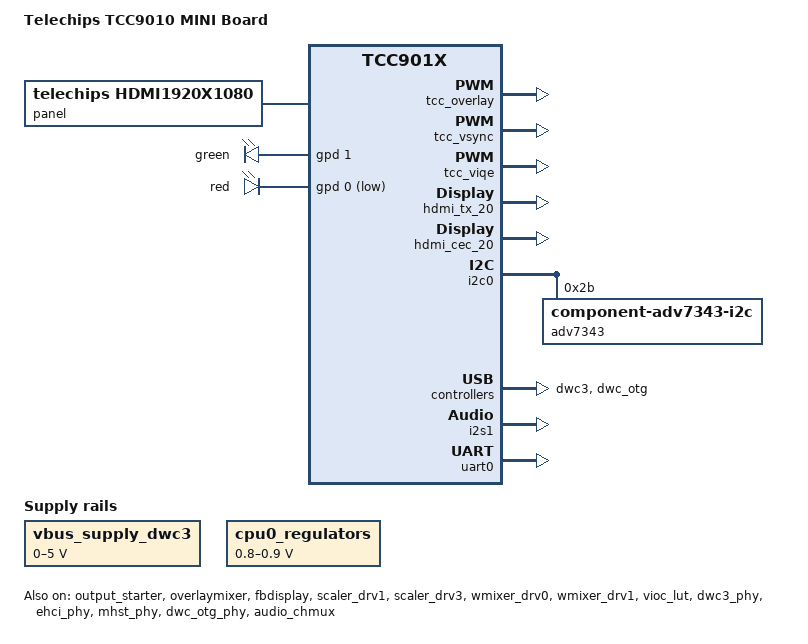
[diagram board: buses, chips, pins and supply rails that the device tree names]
// SPDX-License-Identifier: (GPL-2.0+ OR MIT)
/*
 * Device tree for Telechips TCC9010 MINI board
 *
 * Copyright (C) 2019 Telechips Inc.
 */

#ifndef DT_OVERLAY
#include "tcc9010.dtsi"
#endif

#include "tcc901x-android.dtsi"

/ {
	model = "Telechips TCC9010 MINI Board";
	compatible = "telechips,tcc9010", "telechips,tcc901x";

	vbus_supply_dwc3: vbus_supply_dwc3 {
		compatible = "regulator-gpio";
		regulator-name = "vbus_supply_dwc3";
		regulator-type = "voltage";
		regulator-min-microvolt = <0000001>;
		regulator-max-microvolt = <5000000>;
		gpios = <&gpd 19 0x0>;
		gpios-states = <0x0>;
		states = <0000001 0x0 5000000 0x1>;
	};

};

&chosen {
};

&cpu0_regulators {
	compatible = "regulator-gpio";

	regulator-name = "vdd_cpu0";
	regulator-min-microvolt = <800000>;
	regulator-max-microvolt = <900000>;
	regulator-type = "voltage";
	regulator-always-on;

	gpios = <&gpd 16 0x4>;
	gpios-states = <0>;

	states = < 800000 0x0
		900000 0x1
		>;

	startup-delay-us = <100000>;
	enable-active-high;
};

&panel {
	status = "okay";
	compatible = "telechips,hdmi1920x1080";
};

&tcc_tve {
	status = "disabled";
};

&composite {
	status = "disabled";
};

&component {
	status = "disabled";
	io_port_num = <1>;	/* TCC901x: LCDC interface 1 (L1_XXX) */
};

&output_starter {
	status = "okay";
};

&overlaymixer {
	status ="okay";
	contiguousSize = <0x1000000>;  /* 16MB (if > 512MB RAM) refer to Guide 27 Page */
	baseAddress = <0x20000000>;
	physSize = <0x80000000>; /*  DRAM size (0x40000000 = 1GB, 0x80000000 = 2GB) */
};

&fbdisplay {
	telechips,fbdisplay_num = <0>;
	status ="okay";
};

&tcc_overlay {
	compatible = "telechips,tcc_overlay";
	status = "okay";
	fbdisplay-overlay = <&fbdisplay>;
};

&tcc_vsync {
	compatible = "telechips,tcc_vsync";
	display-vioc0 = <&vioc_disp VIOC_DISP0>;
	display-vioc1 = <&vioc_disp VIOC_DISP1>;
	status = "okay";
};

&tcc_viqe {
	compatible = "telechips,tcc_viqe";
	status ="okay";
	tcc_viqe_viqe_common {
		board_num=<1>;
	};
};

&scaler_drv1 {
	rdmas = <&vioc_rdma VIOC_RDMA16>;
	scalers = <&vioc_scaler VIOC_SCALER1 VIOC_SC_RDMA_16>;	/* id:1, path:17 */
	wmixs = <&vioc_wmix VIOC_WMIX5>;	/* id:5, path:6 */
	wdmas = <&vioc_wdma VIOC_WDMA06>;
	settop_support = <1>;
	status = "okay";
};

&scaler_drv3 {
	rdmas = <&vioc_rdma VIOC_RDMA07>;
	scalers = <&vioc_scaler VIOC_SCALER3 VIOC_SC_RDMA_07>;	/* id:3, path:7 */
	wmixs = <&vioc_wmix VIOC_WMIX1>;	/* id:1, path:3 */
	wdmas = <&vioc_wdma VIOC_WDMA01>;
	settop_support = <1>;
	status = "okay";
};

&wmixer_drv0 {
	status = "okay";
};

&wmixer_drv1 {
	status = "okay";
};
&vioc_lut {
	status = "okay";
};

&hdmi_tx_20 {
	status = "okay";
	hdmi_ref_src_clock = <0>; // 0 XIN, 1 X-TAL, 2 PERI, 3, PMU XIN
	hdmi_phy_type = <1>;

	/* Source Product Description */
	product_description = "TCC9010_mini";
};

&hdmi_cec_20 {
	status = "okay";
};

/* I2C */

// Default set
&i2c0 {
	port-mux = <9>;
	status = "okay";
	pinctrl-names = "default";
	pinctrl-0 = <&i2c9_bus>;

	adv7343@20 {
		compatible = "component-adv7343-i2c";
		reg = <0x2b>;	/* ALSB=1, Write=0x56, Read=0x57 */
	};
};

/* USB 3.0 DRD */
&dwc3_phy {
	status = "okay";
	vbus-ctrl-able;
	vbus-supply = <&vbus_supply_dwc3>;
};
&dwc3 {
	status = "okay";
};

/* USB 2.0 HOST */
&ehci_phy {
	status = "okay";
};

&mhst_phy {
	status = "okay";
};

&dwc_otg_phy {
	status = "okay";
};

&ehci {
	status = "disable";
	hcd_id = <0>;
	phy-type = <1>;	    //pico phy = 1, nano phy = 0
	TXVRT = <0xB>;
	TXRISET = <0x3>;
	TXAT = <0x1>;
};

&ohci {
	status = "disable";
};

/* USB 2.0 OTG */
&dwc_otg {
	status = "okay";
	phy-type = <1>;     //pico phy = 1, nano phy = 0
};

&audio_chmux {
	compatible = "telechips,audio-chmux-901x";
	dai = <99 99>; // i2s0(x) i2s1(x)
	cdif = <99 99>; // cdif0(x) cdif1(x)
	spdif = <99>; // spdif0(x)
	status = "okay";
};

&i2s1 {
	pinctrl-names = "default";
	status = "okay";
};

&adma1 {
	status = "okay";
};

&sound {
	compatible = "telechips,snd-card";
	card-name = "TCC9010 Mini Card";
	status = "okay";

	telechips,dai-link@0 {
		stream-name="I2S_1_HDMI";

		codec,format = "i2s"; // i2s, left_j, right_j
		codec,continuous-clock;

		mclk_div = <4>; // 4,6,8,16
		bclk_ratio = <64>; // 32,48,64fs
		pcm = <&adma1>;
		dai = <&i2s1>;
	};
};

&thermal {
	compatible = "telechips,tcc-thermal";
	reg = <0x14700000 0x4 0x14700030 0x4 0x14200290 0x4 0x1420029C 0x4>;
	clocks = <&clk_isoip_top ISOIP_TOP_TSEN>;
	status = "okay";

	throttle_count = <5>;
	throttle_active_count = <0>;
	throttle_passive_count = <5>;

	cal_type = "TYPE_ONE_POINT_TRIMMING";
	polling-delay-idle = <0>;
	polling-delay-passive = <0>;

	throttle_table {
		throttle_tab_0 {
			temp = <75>;
			freq_max_cluster0 = <1000000>;
			freq_max_cluster1 = <900000>;
		};
		throttle_tab_1 {
			temp = <80>;
			freq_max_cluster0 = <900000>;
			freq_max_cluster1 = <810000>;
		};
		throttle_tab_2 {
			temp = <85>;
			freq_max_cluster0 = <800000>;
			freq_max_cluster1 = <720000>;
		};
		throttle_tab_3 {
			temp = <90>;
			freq_max_cluster0 = <700000>;
			freq_max_cluster1 = <630000>;
		};
		throttle_tab_4 {
			temp = <95>;
			freq_max_cluster0 = <600000>;
			freq_max_cluster1 = <540000>;
		};
	};
};

&gpio_leds {
	compatible = "gpio-leds";
	green {
		gpios = <&gpd 1 0>;
		default-state = "on";
	};
	red {
		gpios = <&gpd 0 1>;
		default-state = "on";
	};
};

&uart0 {
	pinctrl-names = "default";
	pinctrl-0 = <&uart2_data>;
	status = "okay";
};
